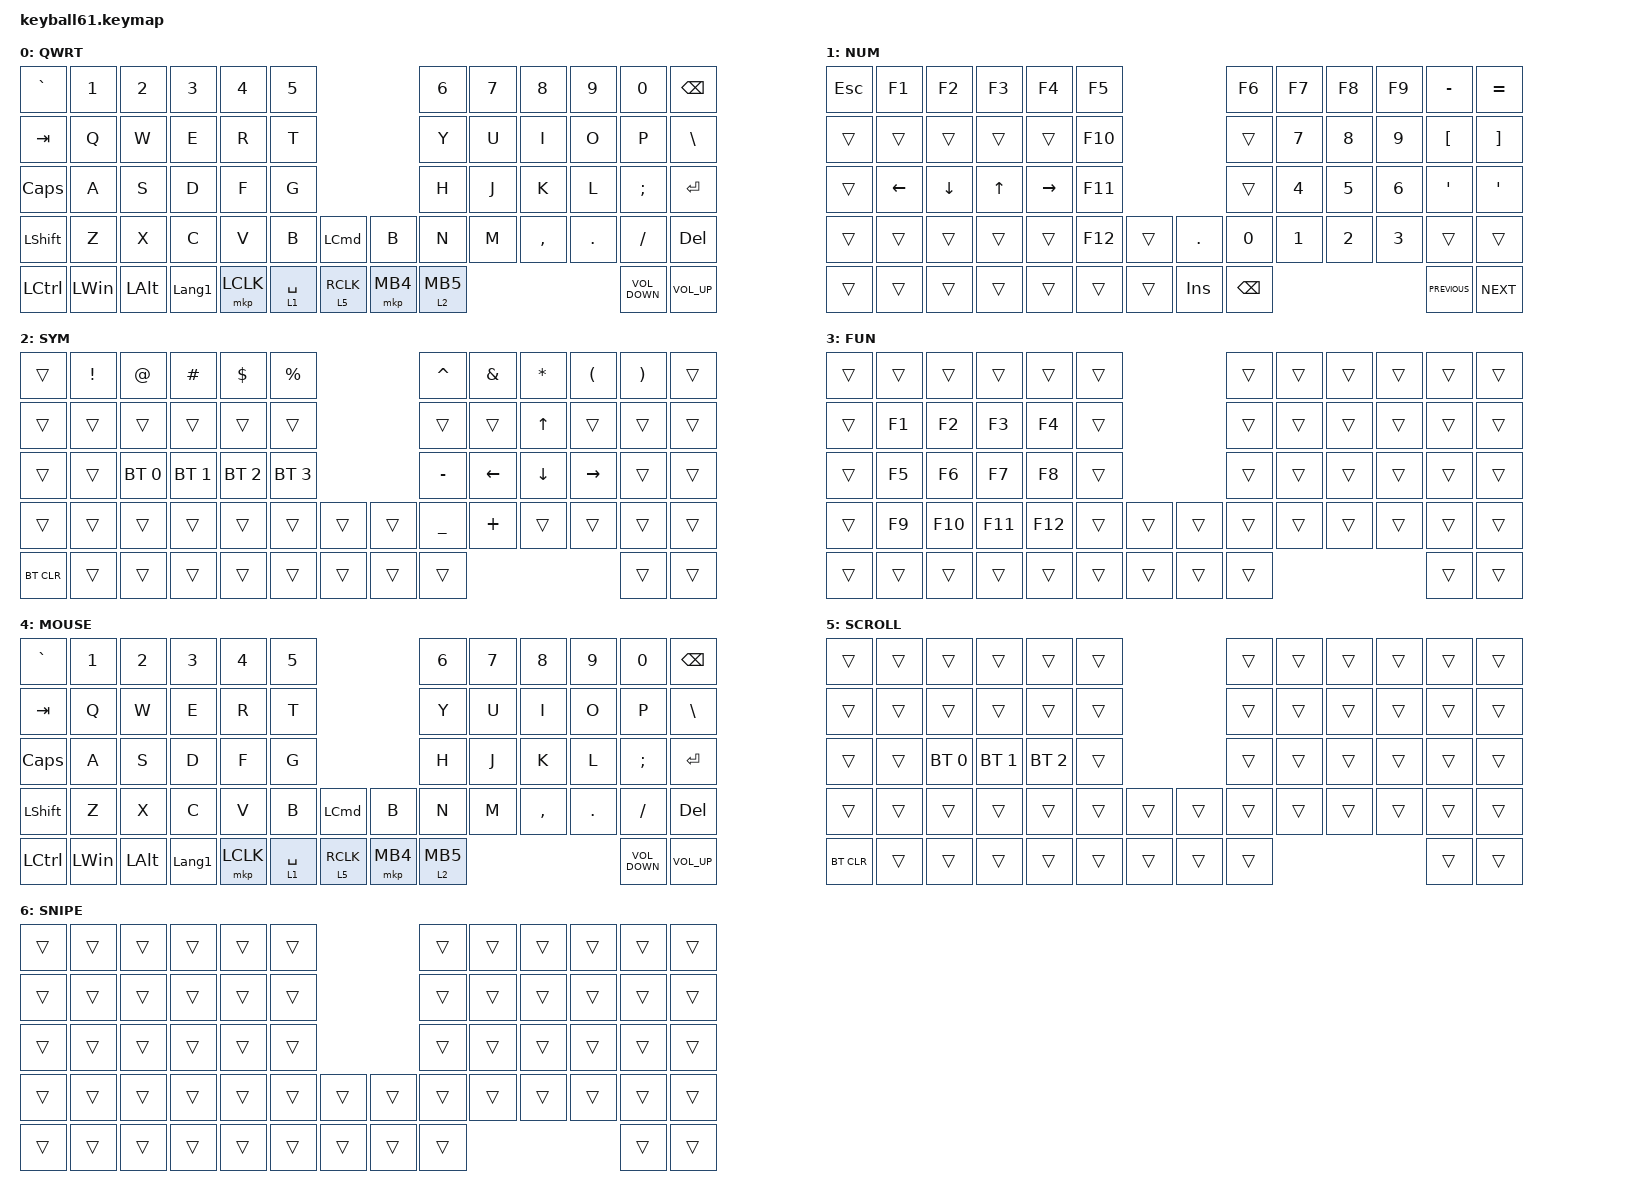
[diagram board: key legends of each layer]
#define DEFAULT 0
#define SYM     1
#define FUN     2
#define MOUSE   3
#define SCROLL  4
#define SNIPE   5

#include <behaviors/mouse_keys.dtsi>
#include <dt-bindings/zmk/mouse.h>
#include <behaviors.dtsi>
#include <dt-bindings/zmk/bt.h>
#include <dt-bindings/zmk/keys.h>
#include <dt-bindings/zmk/pointing.h>

&lt {
    tapping-term-ms = <150>;
    flavor = "balanced";
    quick-tap-ms = <100>;
};

&mt {
    tapping-term-ms = <150>;
    flavor = "balanced";
    quick-tap-ms = <100>;
};

/ {
    behaviors {
        mouse_btn_layer: mouse_button_layer {
            compatible = "zmk,behavior-hold-tap";
            label = "MOUSE_BUTTON_LAYER";
            #binding-cells = <2>;
            tapping-term-ms = <150>;
            quick-tap-ms = <100>;
            flavor = "balanced";
            bindings = <&mo>, <&mkp>;
        };

        /* 
        inc_mouse_speed: increase_mouse_speed {
            compatible = "zmk,behavior-macro";
            label = "INCREASE_MOUSE_SPEED";
            #binding-cells = <0>;
            bindings =
                <&macro_tap>,
                <&zmk_mouse_config_set 0 100>;
        };

        dec_mouse_speed: decrease_mouse_speed {
            compatible = "zmk,behavior-macro";
            label = "DECREASE_MOUSE_SPEED";
            #binding-cells = <0>;
            bindings =
                <&macro_tap>,
                <&zmk_mouse_config_set 1 100>;
        };

        inc_scroll_speed: increase_scroll_speed {
            compatible = "zmk,behavior-macro";
            label = "INCREASE_SCROLL_SPEED";
            #binding-cells = <0>;
            bindings =
                <&macro_tap>,
                <&zmk_mouse_config_set 2 20>;
        };

        dec_scroll_speed: decrease_scroll_speed {
            compatible = "zmk,behavior-macro";
            label = "DECREASE_SCROLL_SPEED";
            #binding-cells = <0>;
            bindings =
                <&macro_tap>,
                <&zmk_mouse_config_set 3 20>;
        };
        */
    };

    keymap {
        compatible = "zmk,keymap";

        default_layer {
            label = "QWRT";
            bindings = <
&kp GRAVE        &kp N1        &kp N2        &kp N3          &kp N4     &kp N5                                          &kp N6                  &kp N7  &kp N8     &kp N9   &kp N0             &kp BSPC
&kp TAB          &kp Q         &kp W         &kp E           &kp R      &kp T                                           &kp Y                   &kp U   &kp I      &kp O    &kp P              &kp BACKSLASH
&kp CAPS  &kp A         &kp S         &kp D           &kp F      &kp G                                           &kp H                   &kp J   &kp K      &kp L    &kp SEMI           &kp ENTER
&kp LEFT_SHIFT   &kp Z         &kp X         &kp C           &kp V      &kp B        &kp LEFT_COMMAND         &kp B     &kp N                   &kp M   &kp COMMA  &kp DOT  &kp FSLH           &kp DELETE
&kp LCTRL        &kp LEFT_WIN  &kp LEFT_ALT  &kp LANGUAGE_1  &mkp LCLK  &lt 1 SPACE  &mouse_btn_layer 5 RCLK  &mkp MB4  &mouse_btn_layer 2 MB5                              &kp C_VOLUME_DOWN  &kp C_VOLUME_UP
            >;
        };

        number_layer {
            bindings = <
&kp ESC  &kp F1    &kp F2    &kp F3  &kp F4     &kp F5                       &kp F6         &kp F7        &kp F8        &kp F9        &kp MINUS         &kp EQUAL
&trans   &trans    &trans    &trans  &trans     &kp F10                      &trans         &kp NUMBER_7  &kp N8        &kp NUMBER_9  &kp LEFT_BRACKET  &kp RIGHT_BRACKET
&trans   &kp LEFT  &kp DOWN  &kp UP  &kp RIGHT  &kp F11                      &trans         &kp NUMBER_4  &kp NUMBER_5  &kp NUMBER_6  &kp SQT           &kp SQT
&trans   &trans    &trans    &trans  &trans     &kp F12  &trans  &kp PERIOD  &kp NUMBER_0   &kp NUMBER_1  &kp NUMBER_2  &kp NUMBER_3  &trans            &trans
&trans   &trans    &trans    &trans  &trans     &trans   &trans  &kp INSERT  &kp BACKSPACE                                            &kp C_PREVIOUS    &kp C_NEXT
            >;

            label = "NUM";
        };

        arrow_bt_asdf {
            label = "SYM";
            bindings = <
&trans      &kp EXCLAMATION  &kp AT_SIGN   &kp HASH      &kp DOLLAR    &kp PERCENT                   &kp CARET       &kp AMPERSAND   &kp ASTERISK    &kp LEFT_PARENTHESIS  &kp RIGHT_PARENTHESIS  &trans
&trans      &trans           &trans        &trans        &trans        &trans                        &trans          &trans          &kp UP_ARROW    &trans                &trans                 &trans
&trans      &trans           &bt BT_SEL 0  &bt BT_SEL 1  &bt BT_SEL 2  &bt BT_SEL 3                  &kp MINUS       &kp LEFT_ARROW  &kp DOWN_ARROW  &kp RIGHT             &trans                 &trans
&trans      &trans           &trans        &trans        &trans        &trans        &trans  &trans  &kp UNDERSCORE  &kp PLUS        &trans          &trans                &trans                 &trans
&bt BT_CLR  &trans           &trans        &trans        &trans        &trans        &trans  &trans  &trans                                                                &trans                 &trans
            >;
        };

        function_layer {
            label = "FUN";
            bindings = <
&trans  &trans  &trans   &trans   &trans   &trans                  &trans  &trans  &trans  &trans  &trans  &trans
&trans  &kp F1  &kp F2   &kp F3   &kp F4   &trans                  &trans  &trans  &trans  &trans  &trans  &trans
&trans  &kp F5  &kp F6   &kp F7   &kp F8   &trans                  &trans  &trans  &trans  &trans  &trans  &trans
&trans  &kp F9  &kp F10  &kp F11  &kp F12  &trans  &trans  &trans  &trans  &trans  &trans  &trans  &trans  &trans
&trans  &trans  &trans   &trans   &trans   &trans  &trans  &trans  &trans                          &trans  &trans
            >;
        };

        mouse_layer {
            label = "MOUSE";
            bindings = <
&kp GRAVE        &kp N1        &kp N2        &kp N3          &kp N4     &kp N5                                          &kp N6                  &kp N7  &kp N8     &kp N9   &kp N0             &kp BSPC
&kp TAB          &kp Q         &kp W         &kp E           &kp R      &kp T                                           &kp Y                   &kp U   &kp I      &kp O    &kp P              &kp BACKSLASH
&kp CAPS  &kp A         &kp S         &kp D           &kp F      &kp G                                           &kp H                   &kp J   &kp K      &kp L    &kp SEMI           &kp ENTER
&kp LEFT_SHIFT   &kp Z         &kp X         &kp C           &kp V      &kp B        &kp LEFT_COMMAND         &kp B     &kp N                   &kp M   &kp COMMA  &kp DOT  &kp FSLH           &kp DELETE
&kp LCTRL        &kp LEFT_WIN  &kp LEFT_ALT  &kp LANGUAGE_1  &mkp LCLK  &lt 1 SPACE  &mouse_btn_layer 5 RCLK  &mkp MB4  &mouse_btn_layer 2 MB5                              &kp C_VOLUME_DOWN  &kp C_VOLUME_UP
            >;
        };

        scroll_layer {
            label = "SCROLL";
            bindings = <
&trans      &trans  &trans        &trans        &trans        &trans                  &trans  &trans  &trans  &trans  &trans  &trans
&trans      &trans  &trans        &trans        &trans        &trans                  &trans  &trans  &trans  &trans  &trans  &trans
&trans      &trans  &bt BT_SEL 0  &bt BT_SEL 1  &bt BT_SEL 2  &trans                  &trans  &trans  &trans  &trans  &trans  &trans
&trans      &trans  &trans        &trans        &trans        &trans  &trans  &trans  &trans  &trans  &trans  &trans  &trans  &trans
&bt BT_CLR  &trans  &trans        &trans        &trans        &trans  &trans  &trans  &trans                          &trans  &trans
            >;
        };

        snipe_layer {
            label = "SNIPE";
            bindings = <
&trans  &trans  &trans  &trans  &trans  &trans                  &trans  &trans  &trans  &trans  &trans  &trans
&trans  &trans  &trans  &trans  &trans  &trans                  &trans  &trans  &trans  &trans  &trans  &trans
&trans  &trans  &trans  &trans  &trans  &trans                  &trans  &trans  &trans  &trans  &trans  &trans
&trans  &trans  &trans  &trans  &trans  &trans  &trans  &trans  &trans  &trans  &trans  &trans  &trans  &trans
&trans  &trans  &trans  &trans  &trans  &trans  &trans  &trans  &trans                          &trans  &trans
            >;
        };
    };
};
